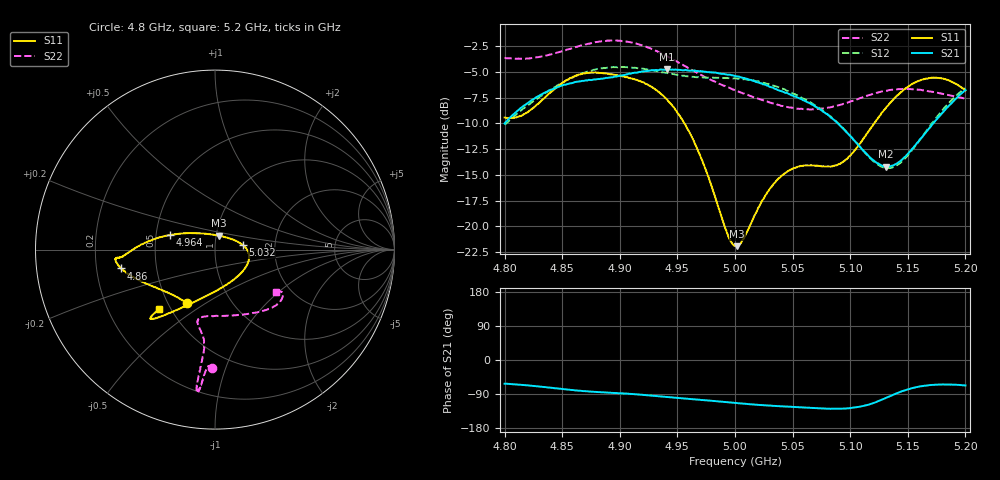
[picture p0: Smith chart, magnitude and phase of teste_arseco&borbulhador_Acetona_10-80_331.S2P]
! Network Analyzer HP8722D
! Hewlett-Packard
! Data name: Linha & Wilkinson
! Saver's name: Rodrigo Anjos
! Comments: Teste da utilização de aquisição
! continua pelo VNA HP8722D
! Time and date: 17/4/2025 17:07
!  Frequency  S11  S21  S12  S22
# HZ  S  MA R 50
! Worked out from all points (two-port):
!   401 points, 4.8 GHz to 5.2 GHz, reference 50 ohm
!   highest |S21| = -4.78 dB at 4.941 GHz (marker M1); lowest = -14.2 dB at 5.131 GHz (marker M2)
!   |S21| within 3 dB of the highest: 4.823 GHz to 5.06 GHz (236.5 MHz wide, 4.79 % of centre); 5.190331 GHz to end of sweep
!   lowest |S11| = -21.9 dB at 5.002 GHz (marker M3), VSWR 1.17, Z = 51.5 + j8.03 ohm
!   |S11| at or under -10 dB: 4.956 GHz to 5.121 GHz (164.9 MHz wide, 3.27 % of centre)
!   |S22| runs from -8.7 to -2.0 dB; largest |S21 - S12| = 0.87
!   S11 on the Smith chart (normalised r, x): 4.8 GHz: 0.62, -0.42; 4.86 GHz: 0.31, -0.09; 4.964 GHz: 0.60, +0.10; 5.032 GHz: 1.36, +0.07; 5.2 GHz: 0.43, -0.36
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4.8e9  0.3374 -117.3  0.3157 -62.4  0.3112 -176.6  0.6573 -91.4
4.818e9  0.3526 -136.5  0.3889 -66.4  0.3795 -176.3  0.6505 -93.1
4.86e9  0.5341 -168.7  0.4989 -79.5  0.5306 -179.7  0.7356 -95.5
4.867e9  0.5491 -171.4  0.5077 -81.7  0.5521 179.1  0.7557 -95.8
4.899e9  0.5387 -175.2  0.5359 -87.8  0.5944 172.8  0.7955 -97.2
4.934e9  0.4485 179.2  0.5733 -95.8  0.5657 169.8  0.6983 -97.4
4.941e9  0.4124 176.1  0.5771 -97.8  0.5555 170.0  0.67 -97.0
4.964e9  0.2613 161.7  0.5695 -103.8  0.5313 171.8  0.5682 -96.3
4.975e9  0.1858 150.6  0.5627 -106.5  0.5263 172.7  0.5269 -96.6
4.993e9  0.0928 111.7  0.5454 -111.2  0.5245 173.9  0.4743 -98.7
5e9  0.08048 84.0  0.5365 -113.2  0.5236 174.1  0.4578 -100.1
5.002e9  0.08015 75.2  0.5339 -113.7  0.5201 174.1  0.4535 -100.6
5.032e9  0.1563 9.6  0.4727 -120.8  0.4847 172.6  0.3959 -103.2
5.048e9  0.1884 -5.4  0.4364 -123.3  0.4495 172.1  0.3776 -98.9
5.067e9  0.1975 -25.8  0.3897 -126.6  0.395 171.9  0.3697 -88.1
5.095e9  0.2079 -74.0  0.2935 -128.1  0.2947 174.6  0.3937 -66.5
5.119e9  0.3062 -110.3  0.2119 -114.7  0.2101 -170.0  0.4383 -50.5
5.131e9  0.3759 -120.1  0.1952 -100.4  0.1921 -153.9  0.455 -44.6
5.134e9  0.3934 -122.0  0.1953 -96.4  0.1916 -149.5  0.4587 -43.3
5.148e9  0.4672 -128.1  0.2185 -79.3  0.2149 -129.5  0.4646 -38.2
5.168e9  0.5239 -132.4  0.2966 -66.8  0.3007 -113.2  0.4519 -33.5
5.2e9  0.4561 -133.4  0.4586 -67.2  0.4686 -109.3  0.4166 -35.0
